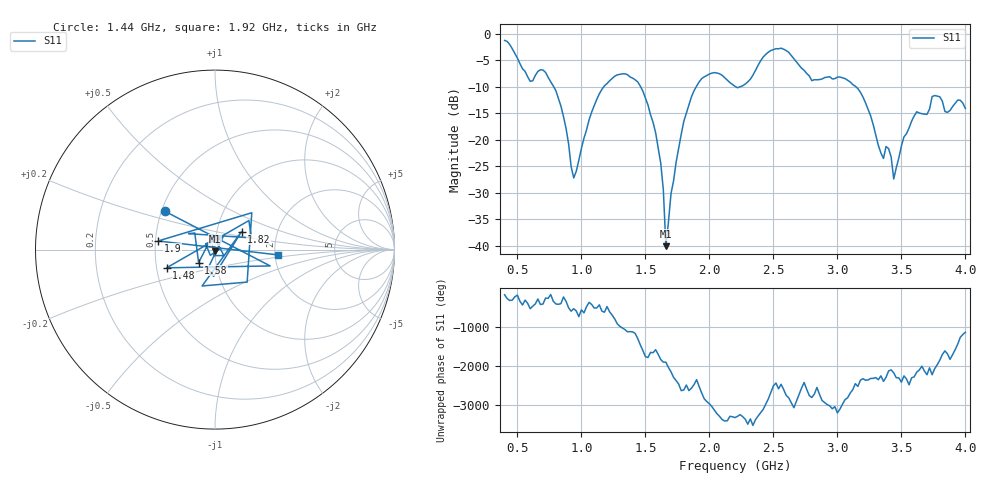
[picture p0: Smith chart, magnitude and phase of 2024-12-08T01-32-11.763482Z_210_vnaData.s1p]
!Created with skrf (http://scikit-rf.org).
# Hz S RI R 50.0
!freq ReS11 ImS11
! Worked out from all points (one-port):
!   181 points, 400 MHz to 4 GHz, reference 50 ohm
!   lowest |S11| = -40.0 dB at 1.66 GHz (marker M1), VSWR 1.02, Z = 49.8 - j0.975 ohm
!   |S11| at or under -10 dB: 783.7 MHz to 1.175 GHz (391.2 MHz wide, 39.9 % of centre); 1.463 GHz to 1.897 GHz (434.7 MHz wide, 25.9 % of centre); 3.145 GHz to end of sweep (the widest 3 of 4)
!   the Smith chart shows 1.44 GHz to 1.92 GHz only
!   S11 on the Smith chart (normalised r, x): 1.44 GHz: 0.52, +0.25; 1.48 GHz: 0.57, -0.13; 1.58 GHz: 0.82, -0.12; 1.82 GHz: 1.31, +0.27; 1.9 GHz: 0.52, +0.06; 1.92 GHz: 2.07, -0.14
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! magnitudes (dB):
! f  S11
! 400 MHz  -1.3
! 600 MHz  -9.0
! 720 MHz  -7.3
! 860 MHz  -15.6
! 940 MHz  -27.2
! 1.12 GHz  -12.4
! 1.3 GHz  -7.7
! 1.44 GHz  -9.1
! 1.48 GHz  -10.8
! 1.58 GHz  -18.7
! 1.64 GHz  -29.4
! 1.66 GHz  -40.0
! 1.76 GHz  -21.5
! 1.82 GHz  -15.0
! 1.9 GHz  -9.9
! 1.92 GHz  -9.1
! 2.2 GHz  -9.9
! 2.48 GHz  -3.2
! 2.66 GHz  -4.8
! 2.8 GHz  -8.9
! 3.1 GHz  -9.1
! 3.22 GHz  -13.1
! 3.36 GHz  -23.5
! 3.4 GHz  -21.7
! 3.44 GHz  -27.4
! 3.56 GHz  -17.8
! 3.76 GHz  -11.7
! 4 GHz  -14.1
